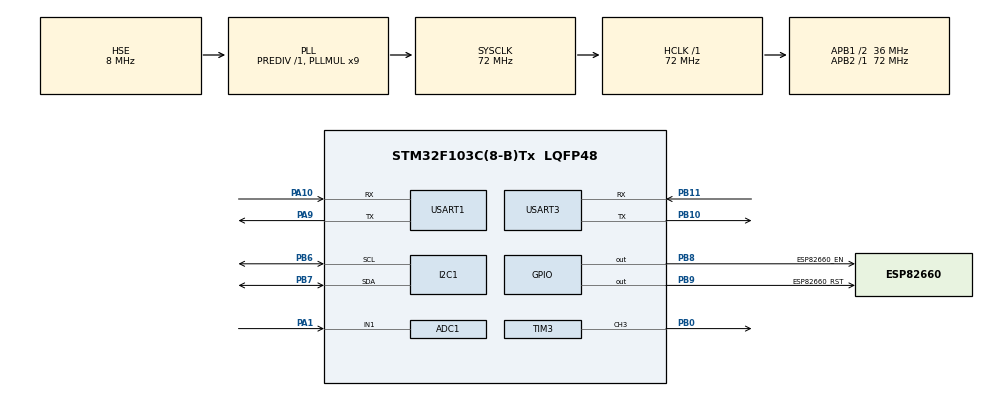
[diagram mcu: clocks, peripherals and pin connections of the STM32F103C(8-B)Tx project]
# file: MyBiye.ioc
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ADC1.Channel-1\#ChannelRegularConversion=ADC_CHANNEL_1
ADC1.NbrOfConversionFlag=1
ADC1.Rank-1\#ChannelRegularConversion=1
ADC1.SamplingTime-1\#ChannelRegularConversion=ADC_SAMPLETIME_239CYCLES_5
ADC1.master=1
Mcu.Family=STM32F1
Mcu.Name=STM32F103C(8-B)Tx
Mcu.Package=LQFP48
NVIC.PriorityGroup=NVIC_PRIORITYGROUP_4
NVIC.USART1_IRQn=true\:0\:0\:false\:false\:true\:true\:true\:true
NVIC.USART3_IRQn=true\:0\:0\:false\:false\:true\:true\:true\:true
PA1.Signal=ADCx_IN1
PA10.Mode=Asynchronous
PA10.Signal=USART1_RX
PA13.Mode=Serial_Wire
PA13.Signal=SYS_JTMS-SWDIO
PA14.Mode=Serial_Wire
PA14.Signal=SYS_JTCK-SWCLK
PA9.Mode=Asynchronous
PA9.Signal=USART1_TX
PB0.Signal=S_TIM3_CH3
PB10.Mode=Asynchronous
PB10.Signal=USART3_TX
PB11.Mode=Asynchronous
PB11.Signal=USART3_RX
PB6.Mode=I2C
PB6.Signal=I2C1_SCL
PB7.Mode=I2C
PB7.Signal=I2C1_SDA
PB8.GPIO_Label=ESP82660_EN
PB8.PinState=GPIO_PIN_SET
PB8.Signal=GPIO_Output
PB9.GPIO_Label=ESP82660_RST
PB9.PinState=GPIO_PIN_SET
PB9.Signal=GPIO_Output
PD0-OSC_IN.Mode=HSE-External-Oscillator
PD0-OSC_IN.Signal=RCC_OSC_IN
PD1-OSC_OUT.Mode=HSE-External-Oscillator
PD1-OSC_OUT.Signal=RCC_OSC_OUT
ProjectManager.HeapSize=0x200
ProjectManager.StackSize=0x400
ProjectManager.TargetToolchain=MDK-ARM V5.32
RCC.ADCPresc=RCC_ADCPCLK2_DIV6
RCC.AHBFreq_Value=72000000
RCC.APB1CLKDivider=RCC_HCLK_DIV2
RCC.APB1Freq_Value=36000000
RCC.APB1TimFreq_Value=72000000
RCC.APB2Freq_Value=72000000
RCC.APB2TimFreq_Value=72000000
RCC.HCLKFreq_Value=72000000
RCC.PLLMUL=RCC_PLL_MUL9
RCC.PLLSourceVirtual=RCC_PLLSOURCE_HSE
RCC.SYSCLKFreq_VALUE=72000000
RCC.SYSCLKSource=RCC_SYSCLKSOURCE_PLLCLK
RCC.USBFreq_Value=72000000
SH.ADCx_IN1.0=ADC1_IN1,IN1
SH.S_TIM3_CH3.0=TIM3_CH3,PWM Generation3 CH3
TIM3.Channel-PWM\ Generation3\ CH3=TIM_CHANNEL_3
TIM3.Period=19999
TIM3.Prescaler=71
USART1.VirtualMode=VM_ASYNC
USART3.VirtualMode=VM_ASYNC
board=custom

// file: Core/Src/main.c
/* USER CODE BEGIN Header */
/**
  ******************************************************************************
  * @file           : main.c
  * @brief          : Main program body
  ******************************************************************************
  */
/* USER CODE END Header */

#include "main.h"
#include "adc.h"
#include "i2c.h"
#include "tim.h"
#include "usart.h"
#include "gpio.h"

/* USER CODE BEGIN Includes */
#include "oled.h"
#include <string.h>
#include <stdio.h>
#include <stdarg.h>
/* USER CODE END Includes */

/* USER CODE BEGIN PTD */
typedef struct
{
    uint16_t mean;
    uint16_t min;
    uint16_t max;
    uint16_t p2p;
    uint32_t energy;
    uint32_t seg1;
    uint32_t seg2;
    uint32_t seg3;
    uint32_t seg4;
    uint32_t seg5;
    uint32_t seg6;
    uint32_t seg7;
    uint32_t seg8;
} VoiceFeature_t;
/* USER CODE END PTD */

/* USER CODE BEGIN PD */
#define SERVO_MIN_US              500U
#define SERVO_MAX_US              2500U
#define DOOR_OPEN_ANGLE           0U
#define DOOR_CLOSE_ANGLE          90U

#define ESP_RX_BUF_LEN            512U

/* WiFi / Server 参数 */
#define WIFI_SSID                 "myk50"
#define WIFI_PASSWORD             "88888888"
#define SERVER_IP                 "192.168.54.204"
#define SERVER_PORT               5000U

/* 采样参数：8段，总长约 880ms */
#define SAMPLE_COUNT              220U
#define SAMPLE_INTERVAL_MS        4U

/* 语音触发参数 */
#define TRIGGER_BASELINE_COUNT    24U
#define TRIGGER_DELTA             220U
#define TRIGGER_HITS              3U
#define TRIGGER_TIMEOUT_MS        2500U
/* USER CODE END PD */

/* USER CODE BEGIN PV */
uint8_t uart1_rx_byte = 0;
uint8_t uart3_rx_byte = 0;

volatile uint8_t uart1_cmd_ready = 0;
volatile uint8_t uart1_cmd_byte = 0;

volatile uint16_t esp_rx_len = 0;
char esp_rx_buf[ESP_RX_BUF_LEN];

uint16_t mic_adc_value = 0;
uint8_t door_is_open = 0;
uint8_t wifi_ready = 0;
uint8_t server_connected = 0;

/* 连续通过计数：必须连续两次 PASS 才真正开锁 */
uint8_t pass_streak = 0;

char last_result[16] = "BOOT";

uint32_t last_adc_tick = 0;
uint32_t last_oled_tick = 0;

uint16_t adc_samples[SAMPLE_COUNT];
/* USER CODE END PV */

void SystemClock_Config(void);
/* USER CODE BEGIN PFP */
static void Debug_SendString(const char *str);
static void Debug_Printf(const char *fmt, ...);

static void ESP_ClearRxBuffer(void);
static void ESP_PrintRxBuffer(void);
static void ESP8266_HardwareReset(void);
static void ESP8266_SendString(const char *str);
static int  ESP_WaitForAny(uint32_t timeout_ms,
                           const char *succ1,
                           const char *succ2,
                           const char *succ3,
                           const char *fail1,
                           const char *fail2);
static uint8_t ESP_SendCmdWait(const char *cmd,
                               uint32_t timeout_ms,
                               const char *succ1,
                               const char *succ2,
                               const char *succ3);
static uint8_t ESP_InitWiFi(void);
static uint8_t ESP_ConnectServer(void);
static uint8_t ESP_CloudVerifyOnce(void);

static void Servo_SetAngle(uint8_t angle);
static void Door_Open(void);
static void Door_Close(void);

static uint16_t Mic_ReadOnce(void);
static uint16_t MeasureBaseline(void);
static uint8_t WaitForVoiceTrigger(uint16_t baseline);
static void CaptureVoiceWindow(void);
static VoiceFeature_t ExtractVoiceFeature(void);

static void OLED_UpdateStatus(void);
static void ShowHelp(void);
/* USER CODE END PFP */

/* USER CODE BEGIN 0 */

static void Debug_SendString(const char *str)
{
    HAL_UART_Transmit(&huart1, (uint8_t *)str, strlen(str), 1000);
}

static void Debug_Printf(const char *fmt, ...)
{
    char buf[256];
    va_list ap;

    va_start(ap, fmt);
    vsnprintf(buf, sizeof(buf), fmt, ap);
    va_end(ap);

    HAL_UART_Transmit(&huart1, (uint8_t *)buf, strlen(buf), 1000);
}

static void ESP_ClearRxBuffer(void)
{
    __disable_irq();
    memset(esp_rx_buf, 0, sizeof(esp_rx_buf));
    esp_rx_len = 0;
    __enable_irq();
}

static void ESP_PrintRxBuffer(void)
{
    if (esp_rx_len > 0)
    {
        Debug_SendString("\r\n[ESP RX BEGIN]\r\n");
        HAL_UART_Transmit(&huart1, (uint8_t *)esp_rx_buf, strlen(esp_rx_buf), 1000);
        Debug_SendString("\r\n[ESP RX END]\r\n");
    }
    else
    {
        Debug_SendString("\r\n[ESP RX EMPTY]\r\n");
    }
}

static void ESP8266_HardwareReset(void)
{
    HAL_GPIO_WritePin(ESP82660_EN_GPIO_Port, ESP82660_EN_Pin, GPIO_PIN_SET);

    HAL_GPIO_WritePin(ESP82660_RST_GPIO_Port, ESP82660_RST_Pin, GPIO_PIN_RESET);
    HAL_Delay(200);
    HAL_GPIO_WritePin(ESP82660_RST_GPIO_Port, ESP82660_RST_Pin, GPIO_PIN_SET);
    HAL_Delay(1500);

    ESP_ClearRxBuffer();
    wifi_ready = 0;
    server_connected = 0;
    pass_streak = 0;
    strcpy(last_result, "RESET");
    OLED_UpdateStatus();
}

static void ESP8266_SendString(const char *str)
{
    HAL_UART_Transmit(&huart3, (uint8_t *)str, strlen(str), 1000);
}

static int ESP_WaitForAny(uint32_t timeout_ms,
                          const char *succ1,
                          const char *succ2,
                          const char *succ3,
                          const char *fail1,
                          const char *fail2)
{
    uint32_t start = HAL_GetTick();

    while ((HAL_GetTick() - start) < timeout_ms)
    {
        if (succ1 && strstr(esp_rx_buf, succ1)) return 1;
        if (succ2 && strstr(esp_rx_buf, succ2)) return 1;
        if (succ3 && strstr(esp_rx_buf, succ3)) return 1;

        if (fail1 && strstr(esp_rx_buf, fail1)) return 0;
        if (fail2 && strstr(esp_rx_buf, fail2)) return 0;

        if (strstr(esp_rx_buf, "ERROR")) return 0;
        if (strstr(esp_rx_buf, "FAIL")) return 0;
        if (strstr(esp_rx_buf, "busy")) return 0;
        if (strstr(esp_rx_buf, "link is not valid")) return 0;
    }

    return -1;
}

static uint8_t ESP_SendCmdWait(const char *cmd,
                               uint32_t timeout_ms,
                               const char *succ1,
                               const char *succ2,
                               const char *succ3)
{
    int ret;

    ESP_ClearRxBuffer();

    Debug_SendString("\r\n>> ");
    Debug_SendString(cmd);

    ESP8266_SendString(cmd);

    ret = ESP_WaitForAny(timeout_ms, succ1, succ2, succ3, NULL, NULL);
    ESP_PrintRxBuffer();

    if (ret == 1)
    {
        Debug_SendString("[OK]\r\n");
        return 1;
    }
    else if (ret == 0)
    {
        Debug_SendString("[FAIL]\r\n");
        return 0;
    }
    else
    {
        Debug_SendString("[TIMEOUT]\r\n");
        return 0;
    }
}

static uint8_t ESP_InitWiFi(void)
{
    char cmd[128];

    Debug_SendString("\r\n=== WiFi Init Start ===\r\n");

    if (!ESP_SendCmdWait("AT\r\n", 1500, "OK", NULL, NULL))
    {
        pass_streak = 0;
        strcpy(last_result, "AT_FAIL");
        OLED_UpdateStatus();
        return 0;
    }

    ESP_SendCmdWait("ATE0\r\n", 1500, "OK", NULL, NULL);

    if (!ESP_SendCmdWait("AT+CWMODE=1\r\n", 2000, "OK", "no change", NULL))
    {
        pass_streak = 0;
        strcpy(last_result, "MODEFAIL");
        OLED_UpdateStatus();
        return 0;
    }

    snprintf(cmd, sizeof(cmd), "AT+CWJAP=\"%s\",\"%s\"\r\n", WIFI_SSID, WIFI_PASSWORD);
    if (!ESP_SendCmdWait(cmd, 20000, "WIFI GOT IP", "OK", NULL))
    {
        pass_streak = 0;
        strcpy(last_result, "WIFIFAIL");
        wifi_ready = 0;
        server_connected = 0;
        OLED_UpdateStatus();
        return 0;
    }

    wifi_ready = 1;
    server_connected = 0;
    pass_streak = 0;
    strcpy(last_result, "WIFI_OK");
    OLED_UpdateStatus();
    Debug_SendString("=== WiFi Connected ===\r\n");
    return 1;
}

static uint8_t ESP_ConnectServer(void)
{
    char cmd[128];

    if (!wifi_ready)
    {
        pass_streak = 0;
        Debug_SendString("WiFi not ready, send 'w' first.\r\n");
        strcpy(last_result, "NO_WIFI");
        OLED_UpdateStatus();
        return 0;
    }

    Debug_SendString("\r\n=== TCP Connect Start ===\r\n");

    ESP_SendCmdWait("AT+CIPCLOSE\r\n", 2000, "OK", "ERROR", "link is not valid");

    if (!ESP_SendCmdWait("AT+CIPMUX=0\r\n", 2000, "OK", NULL, NULL))
    {
        pass_streak = 0;
        strcpy(last_result, "MUX_FAIL");
        OLED_UpdateStatus();
        return 0;
    }

    if (!ESP_SendCmdWait("AT+CIPMODE=0\r\n", 2000, "OK", NULL, NULL))
    {
        pass_streak = 0;
        strcpy(last_result, "MODE0FAIL");
        OLED_UpdateStatus();
        return 0;
    }

    snprintf(cmd, sizeof(cmd), "AT+CIPSTART=\"TCP\",\"%s\",%u\r\n", SERVER_IP, SERVER_PORT);
    if (!ESP_SendCmdWait(cmd, 10000, "CONNECT", "ALREADY CONNECTED", "OK"))
    {
        pass_streak = 0;
        strcpy(last_result, "TCP_FAIL");
        server_connected = 0;
        OLED_UpdateStatus();
        return 0;
    }

    server_connected = 1;
    pass_streak = 0;
    strcpy(last_result, "TCP_OK");
    OLED_UpdateStatus();
    Debug_SendString("=== Server Connected ===\r\n");
    return 1;
}

static void Servo_SetAngle(uint8_t angle)
{
    uint32_t pulse_us;

    if (angle > 180U)
    {
        angle = 180U;
    }

    pulse_us = SERVO_MIN_US + ((SERVO_MAX_US - SERVO_MIN_US) * angle) / 180U;
    __HAL_TIM_SET_COMPARE(&htim3, TIM_CHANNEL_3, pulse_us);
}

static void Door_Open(void)
{
    Servo_SetAngle(DOOR_OPEN_ANGLE);
    door_is_open = 1;
    OLED_UpdateStatus();
    Debug_SendString("Door Open\r\n");
}

static void Door_Close(void)
{
    Servo_SetAngle(DOOR_CLOSE_ANGLE);
    door_is_open = 0;
    OLED_UpdateStatus();
    Debug_SendString("Door Close\r\n");
}

static uint16_t Mic_ReadOnce(void)
{
    uint16_t value = 0;

    HAL_ADC_Start(&hadc1);
    if (HAL_ADC_PollForConversion(&hadc1, 20) == HAL_OK)
    {
        value = (uint16_t)HAL_ADC_GetValue(&hadc1);
    }
    HAL_ADC_Stop(&hadc1);

    return value;
}

static uint16_t MeasureBaseline(void)
{
    uint32_t sum = 0;
    uint16_t i;

    for (i = 0; i < TRIGGER_BASELINE_COUNT; i++)
    {
        sum += Mic_ReadOnce();
        HAL_Delay(2);
    }

    return (uint16_t)(sum / TRIGGER_BASELINE_COUNT);
}

static uint8_t WaitForVoiceTrigger(uint16_t baseline)
{
    uint32_t start = HAL_GetTick();
    uint8_t hit = 0;

    strcpy(last_result, "WAIT");
    OLED_UpdateStatus();

    while ((HAL_GetTick() - start) < TRIGGER_TIMEOUT_MS)
    {
        uint16_t s = Mic_ReadOnce();
        uint16_t diff = (s > baseline) ? (s - baseline) : (baseline - s);

        if (diff > TRIGGER_DELTA)
        {
            hit++;
            if (hit >= TRIGGER_HITS)
            {
                return 1;
            }
        }
        else
        {
            hit = 0;
        }

        HAL_Delay(2);
    }

    return 0;
}

static void CaptureVoiceWindow(void)
{
    uint16_t i;

    strcpy(last_result, "CAPT");
    OLED_UpdateStatus();

    for (i = 0; i < SAMPLE_COUNT; i++)
    {
        adc_samples[i] = Mic_ReadOnce();
        HAL_Delay(SAMPLE_INTERVAL_MS);
    }
}

static VoiceFeature_t ExtractVoiceFeature(void)
{
    VoiceFeature_t f;
    uint32_t sum = 0;
    uint32_t energy_sum = 0;
    uint16_t i;
    uint16_t seg_size;

    f.min = 4095U;
    f.max = 0U;

    f.seg1 = 0U; f.seg2 = 0U; f.seg3 = 0U; f.seg4 = 0U;
    f.seg5 = 0U; f.seg6 = 0U; f.seg7 = 0U; f.seg8 = 0U;

    for (i = 0; i < SAMPLE_COUNT; i++)
    {
        sum += adc_samples[i];

        if (adc_samples[i] < f.min) f.min = adc_samples[i];
        if (adc_samples[i] > f.max) f.max = adc_samples[i];
    }

    f.mean = (uint16_t)(sum / SAMPLE_COUNT);
    f.p2p = f.max - f.min;

    seg_size = SAMPLE_COUNT / 8U;

    for (i = 0; i < SAMPLE_COUNT; i++)
    {
        uint32_t diff;

        if (adc_samples[i] >= f.mean)
            diff = adc_samples[i] - f.mean;
        else
            diff = f.mean - adc_samples[i];

        energy_sum += diff;

        if (i < seg_size) f.seg1 += diff;
        else if (i < seg_size * 2U) f.seg2 += diff;
        else if (i < seg_size * 3U) f.seg3 += diff;
        else if (i < seg_size * 4U) f.seg4 += diff;
        else if (i < seg_size * 5U) f.seg5 += diff;
        else if (i < seg_size * 6U) f.seg6 += diff;
        else if (i < seg_size * 7U) f.seg7 += diff;
        else f.seg8 += diff;
    }

    f.energy = energy_sum;
    return f;
}

static uint8_t ESP_CloudVerifyOnce(void)
{
    int ret;
    char send_cmd[32];
    char payload[192];
    VoiceFeature_t feat;
    uint16_t baseline;

    if (!server_connected)
    {
        pass_streak = 0;
        Debug_SendString("Server not connected, send 's' first.\r\n");
        strcpy(last_result, "NO_SRV");
        OLED_UpdateStatus();
        return 0;
    }

    Debug_SendString("\r\n=== Trigger Feature Verify Start ===\r\n");

    baseline = MeasureBaseline();
    Debug_Printf("baseline=%u\r\n", baseline);

    if (!WaitForVoiceTrigger(baseline))
    {
        pass_streak = 0;
        Debug_SendString("[TRIGGER TIMEOUT]\r\n");
        strcpy(last_result, "NO_VOICE");
        OLED_UpdateStatus();
        return 0;
    }

    Debug_SendString("[VOICE TRIGGERED]\r\n");

    CaptureVoiceWindow();
    feat = ExtractVoiceFeature();

    Debug_Printf("mean=%u min=%u max=%u p2p=%u energy=%lu\r\n",
                 feat.mean, feat.min, feat.max, feat.p2p, (unsigned long)feat.energy);
    Debug_Printf("seg=%lu,%lu,%lu,%lu,%lu,%lu,%lu,%lu\r\n",
                 (unsigned long)feat.seg1, (unsigned long)feat.seg2,
                 (unsigned long)feat.seg3, (unsigned long)feat.seg4,
                 (unsigned long)feat.seg5, (unsigned long)feat.seg6,
                 (unsigned long)feat.seg7, (unsigned long)feat.seg8);

    snprintf(payload, sizeof(payload),
             "FEAT,%u,%u,%u,%u,%lu,%lu,%lu,%lu,%lu,%lu,%lu,%lu,%lu\r\n",
             feat.mean,
             feat.min,
             feat.max,
             feat.p2p,
             (unsigned long)feat.energy,
             (unsigned long)feat.seg1,
             (unsigned long)feat.seg2,
             (unsigned long)feat.seg3,
             (unsigned long)feat.seg4,
             (unsigned long)feat.seg5,
             (unsigned long)feat.seg6,
             (unsigned long)feat.seg7,
             (unsigned long)feat.seg8);

    snprintf(send_cmd, sizeof(send_cmd),
             "AT+CIPSEND=%u\r\n",
             (unsigned int)strlen(payload));

    ESP_ClearRxBuffer();
    Debug_Printf("\r\n>> %s", send_cmd);
    ESP8266_SendString(send_cmd);

    ret = ESP_WaitForAny(4000, ">", NULL, NULL, NULL, NULL);
    ESP_PrintRxBuffer();

    if (ret != 1)
    {
        pass_streak = 0;
        Debug_SendString("[CIPSEND FAIL]\r\n");
        strcpy(last_result, "SENDFAIL");
        OLED_UpdateStatus();
        return 0;
    }

    ESP_ClearRxBuffer();
    Debug_Printf("\r\n>> %s", payload);
    ESP8266_SendString(payload);

    ret = ESP_WaitForAny(6000, "PASS", "FAIL", NULL, NULL, NULL);
    ESP_PrintRxBuffer();

    if (ret == 1)
    {
        if (strstr(esp_rx_buf, "PASS"))
        {
            if (pass_streak == 0)
            {
                pass_streak = 1;
                strcpy(last_result, "PASS1");
                OLED_UpdateStatus();
                Debug_SendString("[PASS 1/2]\r\n");
                return 1;
            }
            else
            {
                pass_streak = 0;
                strcpy(last_result, "PASS2");
                OLED_UpdateStatus();
                Door_Open();
                Debug_SendString("[PASS 2/2 OPEN]\r\n");
                return 1;
            }
        }
        else if (strstr(esp_rx_buf, "FAIL"))
        {
            pass_streak = 0;
            strcpy(last_result, "FAIL");
            OLED_UpdateStatus();
            Door_Close();
            Debug_SendString("[FEATURE FAIL]\r\n");
            return 1;
        }
    }

    pass_streak = 0;
    strcpy(last_result, "TIMEOUT");
    OLED_UpdateStatus();
    Debug_SendString("[FEATURE TIMEOUT/ERROR]\r\n");
    return 0;
}

static void OLED_UpdateStatus(void)
{
    char line2[17];
    char line3[17];
    char line4[17];

    OLED_Clear();
    OLED_ShowString(1, 1, "Voice Lock V2");

    snprintf(line2, sizeof(line2), "D:%s W:%s",
             door_is_open ? "OPEN " : "CLOSE",
             wifi_ready ? "OK" : "NO");
    OLED_ShowString(2, 1, line2);

    snprintf(line3, sizeof(line3), "S:%s A:%4u",
             server_connected ? "OK" : "NO",
             mic_adc_value);
    OLED_ShowString(3, 1, line3);

    snprintf(line4, sizeof(line4), "R:%s", last_result);
    OLED_ShowString(4, 1, line4);
}

static void ShowHelp(void)
{
    Debug_SendString("\r\n========================\r\n");
    Debug_SendString("System Ready V2\r\n");
    Debug_SendString("a -> ESP8266 AT\r\n");
    Debug_SendString("r -> ESP8266 Reset\r\n");
    Debug_SendString("o -> Door Open\r\n");
    Debug_SendString("c -> Door Close\r\n");
    Debug_SendString("w -> Connect WiFi\r\n");
    Debug_SendString("s -> Connect Server\r\n");
    Debug_SendString("v -> Trigger + Send 8Seg Feature\r\n");
    Debug_SendString("Two PASS needed to OPEN\r\n");
    Debug_SendString("h -> Help\r\n");
    Debug_SendString("========================\r\n");
}
/* USER CODE END 0 */

int main(void)
{
  uint8_t cmd = 0;

  HAL_Init();
  SystemClock_Config();

  MX_GPIO_Init();
  MX_ADC1_Init();
  MX_I2C1_Init();
  MX_TIM3_Init();
  MX_USART1_UART_Init();
  MX_USART3_UART_Init();

  /* USER CODE BEGIN 2 */
  HAL_TIM_PWM_Start(&htim3, TIM_CHANNEL_3);

  OLED_Init();
  OLED_Clear();

  ESP8266_HardwareReset();

  Door_Close();
  mic_adc_value = Mic_ReadOnce();
  OLED_UpdateStatus();

  ShowHelp();

  HAL_UART_Receive_IT(&huart1, &uart1_rx_byte, 1);
  HAL_UART_Receive_IT(&huart3, &uart3_rx_byte, 1);
  /* USER CODE END 2 */

  while (1)
  {
    if (HAL_GetTick() - last_adc_tick >= 50U)
    {
        last_adc_tick = HAL_GetTick();
        mic_adc_value = Mic_ReadOnce();
    }

    if (HAL_GetTick() - last_oled_tick >= 300U)
    {
        last_oled_tick = HAL_GetTick();
        OLED_UpdateStatus();
    }

    if (uart1_cmd_ready)
    {
        __disable_irq();
        cmd = uart1_cmd_byte;
        uart1_cmd_ready = 0;
        __enable_irq();

        Debug_Printf("\r\n[CMD HEX:0x%02X DEC:%d]\r\n", cmd, cmd);

        if (cmd == '\r' || cmd == '\n' || cmd == ' ')
        {
            Debug_SendString("Ignore CR/LF/SPACE\r\n");
            continue;
        }

        if (cmd >= 'A' && cmd <= 'Z')
        {
            cmd = (uint8_t)(cmd - 'A' + 'a');
            Debug_Printf("To lower: %c\r\n", cmd);
        }

        if (cmd == 'o')
        {
            pass_streak = 0;
            strcpy(last_result, "MANUAL");
            OLED_UpdateStatus();
            Door_Open();
        }
        else if (cmd == 'c')
        {
            pass_streak = 0;
            strcpy(last_result, "MANUAL");
            OLED_UpdateStatus();
            Door_Close();
        }
        else if (cmd == 'a')
        {
            ESP_SendCmdWait("AT\r\n", 1500, "OK", NULL, NULL);
        }
        else if (cmd == 'r')
        {
            Debug_SendString("Reset ESP8266...\r\n");
            ESP8266_HardwareReset();
        }
        else if (cmd == 'w')
        {
            ESP_InitWiFi();
        }
        else if (cmd == 's')
        {
            ESP_ConnectServer();
        }
        else if (cmd == 'v')
        {
            ESP_CloudVerifyOnce();
        }
        else if (cmd == 'h')
        {
            ShowHelp();
        }
        else
        {
            Debug_SendString("Unknown cmd\r\n");
        }
    }

    HAL_Delay(10);
  }
}

void SystemClock_Config(void)
{
  RCC_OscInitTypeDef RCC_OscInitStruct = {0};
  RCC_ClkInitTypeDef RCC_ClkInitStruct = {0};
  RCC_PeriphCLKInitTypeDef PeriphClkInit = {0};

  RCC_OscInitStruct.OscillatorType = RCC_OSCILLATORTYPE_HSE;
  RCC_OscInitStruct.HSEState = RCC_HSE_ON;
  RCC_OscInitStruct.HSEPredivValue = RCC_HSE_PREDIV_DIV1;
  RCC_OscInitStruct.HSIState = RCC_HSI_ON;
  RCC_OscInitStruct.PLL.PLLState = RCC_PLL_ON;
  RCC_OscInitStruct.PLL.PLLSource = RCC_PLLSOURCE_HSE;
  RCC_OscInitStruct.PLL.PLLMUL = RCC_PLL_MUL9;
  if (HAL_RCC_OscConfig(&RCC_OscInitStruct) != HAL_OK)
  {
    Error_Handler();
  }

  RCC_ClkInitStruct.ClockType = RCC_CLOCKTYPE_HCLK | RCC_CLOCKTYPE_SYSCLK
                              | RCC_CLOCKTYPE_PCLK1 | RCC_CLOCKTYPE_PCLK2;
  RCC_ClkInitStruct.SYSCLKSource = RCC_SYSCLKSOURCE_PLLCLK;
  RCC_ClkInitStruct.AHBCLKDivider = RCC_SYSCLK_DIV1;
  RCC_ClkInitStruct.APB1CLKDivider = RCC_HCLK_DIV2;
  RCC_ClkInitStruct.APB2CLKDivider = RCC_HCLK_DIV1;
  if (HAL_RCC_ClockConfig(&RCC_ClkInitStruct, FLASH_LATENCY_2) != HAL_OK)
  {
    Error_Handler();
  }

  PeriphClkInit.PeriphClockSelection = RCC_PERIPHCLK_ADC;
  PeriphClkInit.AdcClockSelection = RCC_ADCPCLK2_DIV6;
  if (HAL_RCCEx_PeriphCLKConfig(&PeriphClkInit) != HAL_OK)
  {
    Error_Handler();
  }
}

/* USER CODE BEGIN 4 */
void HAL_UART_RxCpltCallback(UART_HandleTypeDef *huart)
{
    if (huart->Instance == USART1)
    {
        uart1_cmd_byte = uart1_rx_byte;
        uart1_cmd_ready = 1;
        HAL_UART_Receive_IT(&huart1, &uart1_rx_byte, 1);
    }
    else if (huart->Instance == USART3)
    {
        if (esp_rx_len < (ESP_RX_BUF_LEN - 1))
        {
            esp_rx_buf[esp_rx_len++] = (char)uart3_rx_byte;
            esp_rx_buf[esp_rx_len] = '\0';
        }

        HAL_UART_Receive_IT(&huart3, &uart3_rx_byte, 1);
    }
}

void HAL_UART_ErrorCallback(UART_HandleTypeDef *huart)
{
    if (huart->Instance == USART1)
    {
        __HAL_UART_CLEAR_OREFLAG(&huart1);
        HAL_UART_Receive_IT(&huart1, &uart1_rx_byte, 1);
    }
    else if (huart->Instance == USART3)
    {
        __HAL_UART_CLEAR_OREFLAG(&huart3);
        HAL_UART_Receive_IT(&huart3, &uart3_rx_byte, 1);
    }
}
/* USER CODE END 4 */

void Error_Handler(void)
{
  __disable_irq();
  while (1)
  {
  }
}
